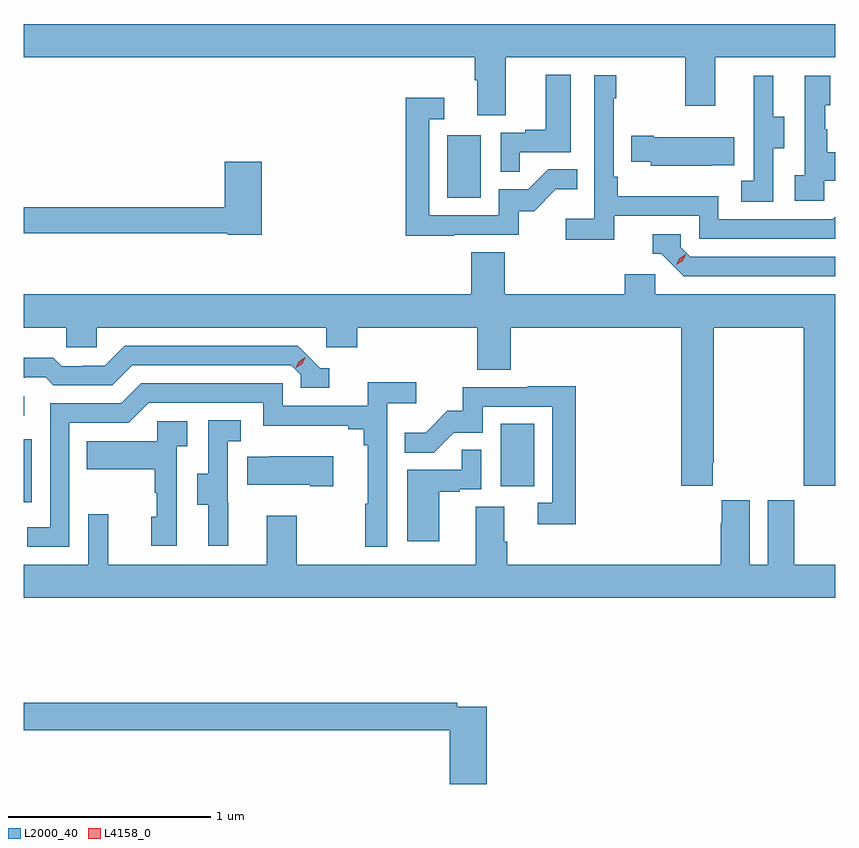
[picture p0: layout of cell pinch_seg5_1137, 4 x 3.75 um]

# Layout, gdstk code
import gdstk
lib = gdstk.Library(unit=1e-6, precision=1e-09)
def R(c, l, rs):  # rectangles x0, y0, x1, y1
    for r in rs: c.add(gdstk.rectangle(r[:2], r[2:], *l))
def P(c, l, *ps):  # polygons
    for p in ps: c.add(gdstk.Polygon(p, *l))
L2000_40 = (2000, 40)
L4158_0 = (4158, 0)

pinch_seg5_1137 = lib.new_cell('pinch_seg5_1137')
R(pinch_seg5_1137, L2000_40, [(839.888,835.92,839.928,836.23), (842.24,835.998,842.404,836.305), (839.888,836.346,839.89,836.442), (841.976,837.42,842.14,837.727)])
P(pinch_seg5_1137, L2000_40, [(842.263,838.112),(843.148,838.112),(843.148,837.873),(843.295,837.873),(843.295,838.112),(843.888,838.112),(843.888,838.276),(839.888,838.276),(839.888,838.112),(842.111,838.112),(842.111,838),(842.123,838),(842.123,837.826),(842.263,837.826)],
  [(842.333,837.645),(842.584,837.645),(842.584,838.027),(842.462,838.027),(842.462,837.754),(842.359,837.754),(842.359,837.741),(842.238,837.741),(842.238,837.547),(842.333,837.547)],
  [(842.798,837.33),(843.216,837.33),(843.216,837.219),(843.888,837.219),(843.888,837.327),(843.876,837.315),(843.312,837.315),(843.312,837.427),(842.816,837.427),(842.816,837.523),(842.796,837.523),(842.796,837.911),(842.809,837.911),(842.809,838.024),(842.7,838.024),(842.7,837.316),(842.559,837.316),(842.559,837.214),(842.798,837.214)],
  [(843.582,837.664),(843.637,837.664),(843.637,837.819),(843.583,837.819),(843.583,838.021),(843.485,838.021),(843.485,837.807),(843.486,837.807),(843.486,837.503),(843.423,837.503),(843.423,837.4),(843.582,837.4)],
  [(843.834,837.503),(843.888,837.503),(843.888,837.643),(843.847,837.643),(843.847,837.758),(843.837,837.758),(843.837,837.876),(843.862,837.876),(843.862,838.021),(843.738,838.021),(843.738,837.53),(843.687,837.53),(843.687,837.405),(843.834,837.405)],
  [(842.009,837.237),(842.328,837.237),(842.328,837.354),(842.404,837.354),(842.511,837.461),(842.615,837.461),(842.615,837.56),(842.472,837.56),(842.374,837.462),(842.229,837.462),(842.229,837.333),(841.887,837.333),(841.887,837.807),(841.96,837.807),(841.96,837.913),(841.771,837.913),(841.771,837.232),(842.009,837.232)],
  [(843.281,837.581),(843.389,837.581),(843.389,837.718),(842.992,837.718),(842.992,837.726),(842.881,837.726),(842.881,837.596),(842.979,837.596),(842.979,837.578),(843.281,837.578)],
  [(841.061,837.598),(840.878,837.598),(840.878,837.374),(839.888,837.374),(839.888,837.246),(840.894,837.246),(840.894,837.238),(841.061,837.238)],
  [(843.888,837.129),(843.174,837.129),(843.126,837.177),(843.126,837.24),(842.987,837.24),(842.987,837.144),(843.03,837.144),(843.141,837.033),(843.888,837.033)],
  [(843.283,836.113),(843.288,836.113),(843.288,836.78),(843.733,836.78),(843.733,836.001),(843.888,836.001),(843.888,836.944),(843,836.944),(843,837.042),(842.849,837.042),(842.849,836.944),(842.258,836.944),(842.258,837.152),(842.093,837.152),(842.093,836.944),(839.888,836.944),(839.888,836.78),(840.099,836.78),(840.099,836.682),(840.249,836.682),(840.249,836.78),(841.38,836.78),(841.38,836.682),(841.532,836.682),(841.532,836.78),(842.123,836.78),(842.123,836.572),(842.288,836.572),(842.288,836.78),(843.128,836.78),(843.128,836.001),(843.283,836.001)],
  [(841.393,836.58),(841.35,836.58),(841.239,836.691),(840.386,836.691),(840.287,836.592),(840.18,836.592),(840.18,836.589),(840.077,836.589),(840.035,836.632),(839.888,836.632),(839.888,836.532),(839.897,836.532),(839.897,836.535),(839.996,836.535),(840.035,836.496),(840.324,836.496),(840.423,836.595),(841.206,836.595),(841.254,836.547),(841.254,836.484),(841.393,836.484)],
  [(840.114,836.31),(840.405,836.31),(840.504,836.409),(841.068,836.409),(841.068,836.297),(841.487,836.297),(841.487,836.278),(841.564,836.278),(841.564,836.201),(841.583,836.201),(841.583,835.913),(841.572,835.913),(841.572,835.701),(841.68,835.701),(841.68,836.408),(841.822,836.408),(841.822,836.51),(841.583,836.51),(841.583,836.394),(841.164,836.394),(841.164,836.505),(840.467,836.505),(840.368,836.406),(840.018,836.406),(840.018,835.797),(839.905,835.797),(839.905,835.701),(840.114,835.701)],
  [(842.609,836.492),(842.371,836.492),(842.371,836.487),(842.053,836.487),(842.053,836.37),(841.976,836.37),(841.869,836.263),(841.765,836.263),(841.765,836.164),(841.909,836.164),(842.007,836.262),(842.151,836.262),(842.151,836.391),(842.493,836.391),(842.493,835.917),(842.421,835.917),(842.421,835.812),(842.609,835.812)],
  [(840.896,835.917),(840.894,835.917),(840.894,836.221),(840.958,836.221),(840.958,836.324),(840.798,836.324),(840.798,836.061),(840.743,836.061),(840.743,835.906),(840.797,835.906),(840.797,835.704),(840.896,835.704)],
  [(840.642,836.195),(840.694,836.195),(840.694,836.319),(840.546,836.319),(840.546,836.221),(840.199,836.221),(840.199,836.081),(840.534,836.081),(840.534,835.967),(840.544,835.967),(840.544,835.848),(840.518,835.848),(840.518,835.704),(840.642,835.704)],
  [(841.936,835.971),(842.036,835.971),(842.036,835.983),(842.142,835.983),(842.142,836.177),(842.047,836.177),(842.047,836.079),(841.778,836.079),(841.778,835.728),(841.936,835.728)],
  [(841.414,836.146),(841.099,836.146),(841.099,836.143),(840.991,836.143),(840.991,836.006),(841.301,836.006),(841.301,835.999),(841.414,835.999)],
  [(843.888,835.612),(843.685,835.612),(843.685,835.93),(843.554,835.93),(843.554,835.612),(843.466,835.612),(843.466,835.93),(843.329,835.93),(843.329,835.817),(843.323,835.817),(843.323,835.612),(842.27,835.612),(842.27,835.724),(842.257,835.724),(842.257,835.898),(842.117,835.898),(842.117,835.612),(841.233,835.612),(841.233,835.852),(841.085,835.852),(841.085,835.612),(840.305,835.612),(840.305,835.861),(840.207,835.861),(840.207,835.612),(839.888,835.612),(839.888,835.448),(843.888,835.448)],
  [(842.171,834.912),(842.024,834.912),(842.024,834.932),(839.888,834.932),(839.888,834.796),(841.988,834.796),(841.988,834.531),(842.171,834.531)])
P(pinch_seg5_1137, L4158_0, [(843.105,837.089),(843.105,837.09),(843.12,837.122),(843.151,837.142),(843.151,837.142),(843.151,837.142),(843.136,837.109),(843.105,837.089)],
  [(841.23,836.581),(841.23,836.582),(841.245,836.614),(841.275,836.634),(841.276,836.634),(841.276,836.634),(841.26,836.601),(841.23,836.581)])

lib.write_gds('pinch_seg5_1137.gds')
